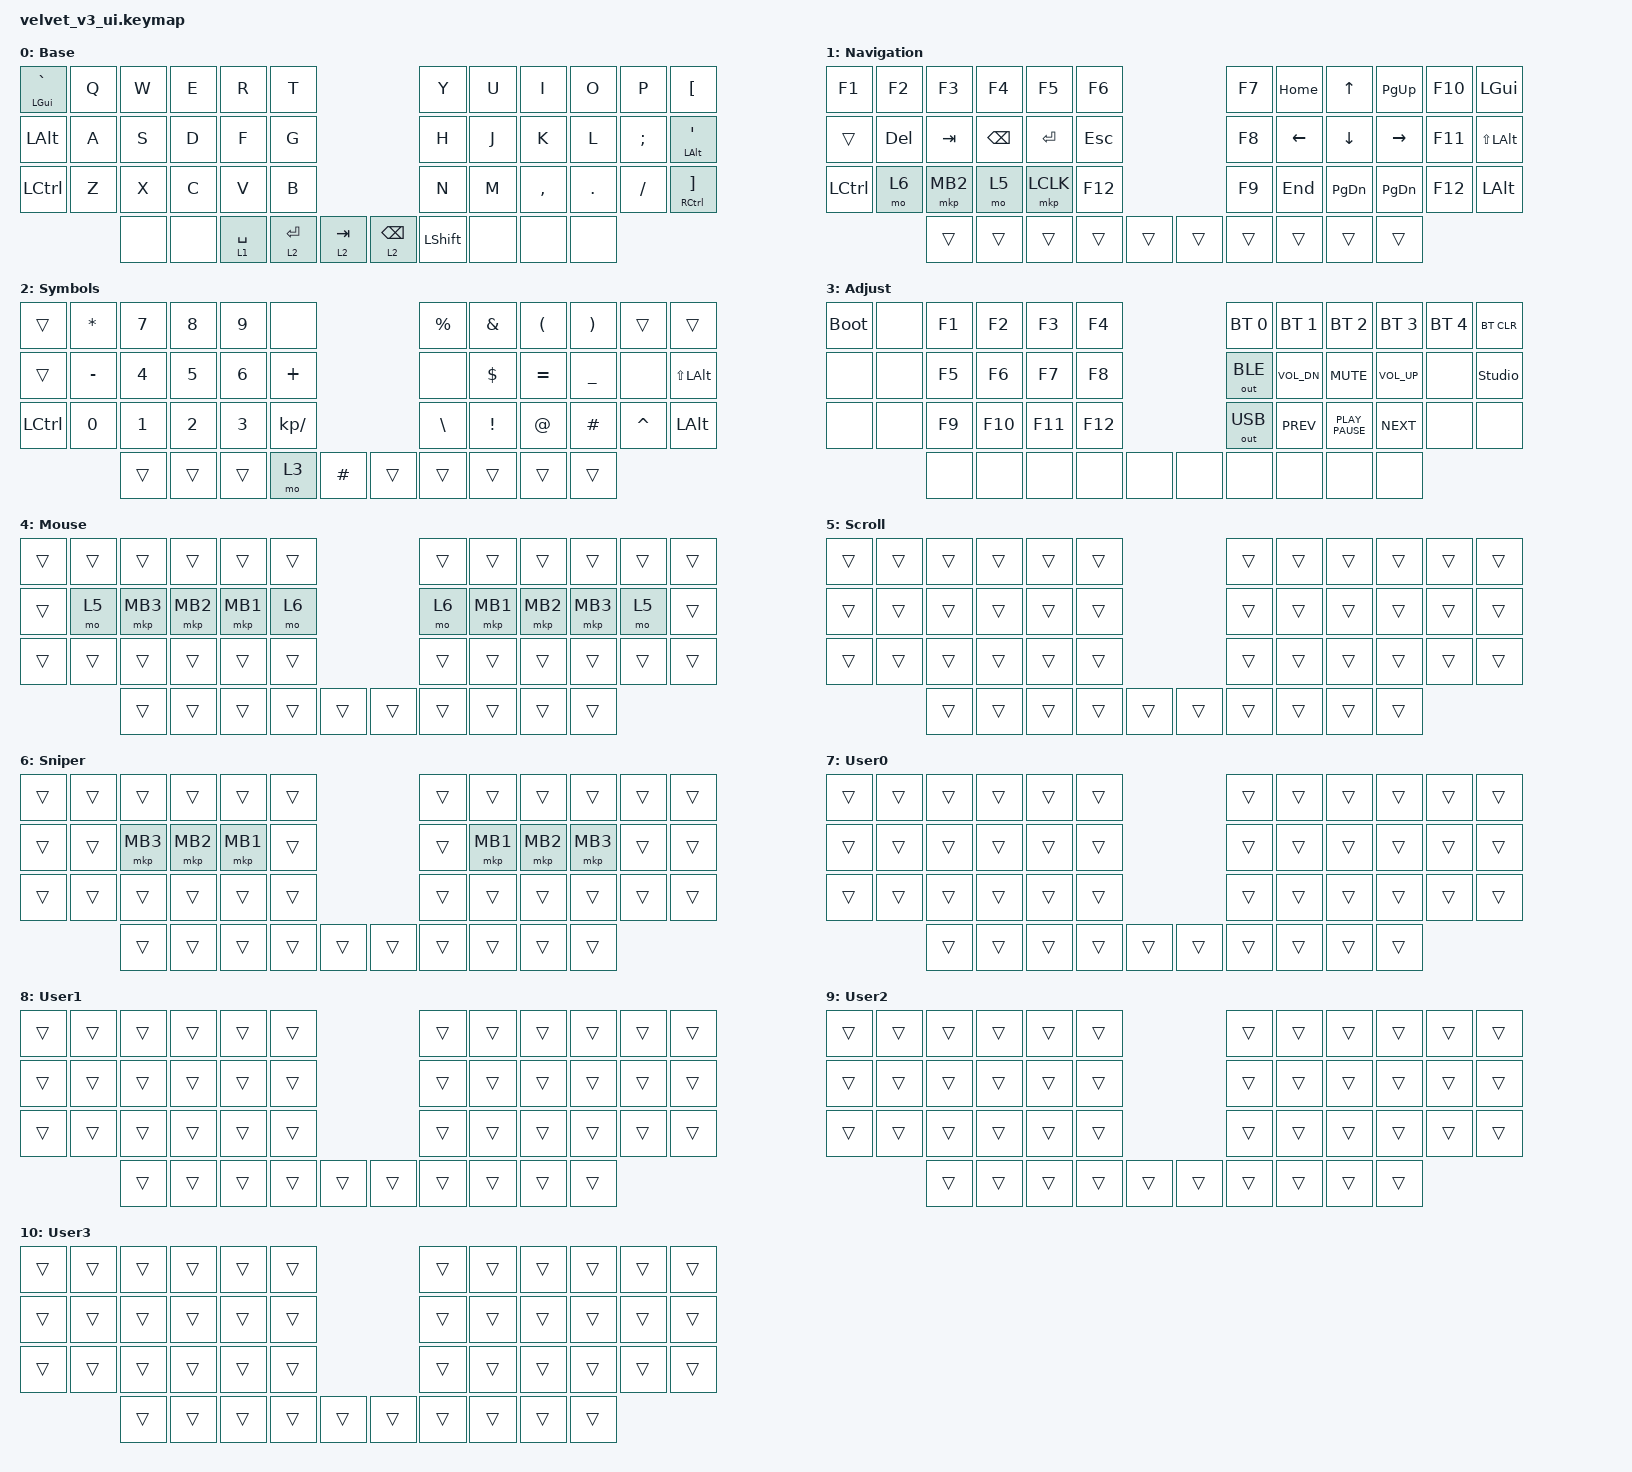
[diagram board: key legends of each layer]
#include "keys_ru.h"
#include <dt-bindings/zmk/input_transform.h>
#include <input/processors.dtsi>
#include <zephyr/dt-bindings/input/input-event-codes.h>
#include <behaviors.dtsi>
#include <dt-bindings/zmk/bt.h>
#include <dt-bindings/zmk/keys.h>
#include <dt-bindings/zmk/outputs.h>
#include <dt-bindings/zmk/pointing.h>

/ {
    behaviors {
        cap_sen: cap_sen {
            compatible = "zmk,behavior-hold-tap";
            label = "CAP_SEN";
            bindings = <&mo>, <&mkp>;

            #binding-cells = <2>;
            tapping-term-ms = <150>;
            hold-while-undecided;
        };
    };

    keymap {
        compatible = "zmk,keymap";

        Base {
            bindings = <
&mt LEFT_GUI GRAVE  &kp Q  &kp W  &kp E  &kp R        &kp T                                      &kp Y           &kp U  &kp I      &kp O    &kp P     &kp LEFT_BRACKET
&kp LEFT_ALT        &kp A  &kp S  &kp D  &kp F        &kp G                                      &kp H           &kp J  &kp K      &kp L    &kp SEMI  &mt LEFT_ALT SQT
&kp LCTRL           &kp Z  &kp X  &kp C  &kp V        &kp B                                      &kp N           &kp M  &kp COMMA  &kp DOT  &kp FSLH  &mt RCTRL RIGHT_BRACKET
                           &none  &none  &lt 1 SPACE  &lt 2 ENTER  &lt 2 TAB    &lt 2 BACKSPACE  &kp LEFT_SHIFT  &none  &none      &none
            >;

            display-name = "Base";
        };

        Navigation {
            bindings = <
&kp F1     &kp F2      &kp F3    &kp F4         &kp F5     &kp F6                     &kp F7  &kp HOME  &kp UP         &kp PAGE_UP    &kp F10  &kp LEFT_GUI
&trans     &kp DELETE  &kp TAB   &kp BACKSPACE  &kp ENTER  &kp ESC                    &kp F8  &kp LEFT  &kp DOWN       &kp RIGHT      &kp F11  &kp LS(LEFT_ALT)
&kp LCTRL  &mo 6       &mkp MB2  &mo 5          &mkp LCLK  &kp F12                    &kp F9  &kp END   &kp PAGE_DOWN  &kp PAGE_DOWN  &kp F12  &kp LEFT_ALT
                       &trans    &trans         &trans     &trans   &trans    &trans  &trans  &trans    &trans         &trans
            >;

            display-name = "Navigation";
        };

        Symbols {
            bindings = <
&trans     &kp ASTRK     &kp N7        &kp N8        &kp N9        &none                             &kp PRCNT      &kp AMPERSAND  &kp LPAR     &kp RPAR   &trans     &trans
&trans     &kp MINUS     &kp NUMBER_4  &kp NUMBER_5  &kp N6        &kp PLUS                          &none          &kp DOLLAR     &kp EQUAL    &kp UNDER  &none      &kp LS(LEFT_ALT)
&kp LCTRL  &kp NUMBER_0  &kp N1        &kp NUMBER_2  &kp NUMBER_3  &kp KP_SLASH                      &kp BACKSLASH  &kp EXCL       &kp AT_SIGN  &kp HASH   &kp CARET  &kp LEFT_ALT
                         &trans        &trans        &trans        &mo 3         &kp HASH    &trans  &trans         &trans         &trans       &trans
            >;

            display-name = "Symbols";
        };

        Adjust {
            bindings = <
&bootloader  &none  &kp F1  &kp F2   &kp F3   &kp F4                   &bt BT_SEL 0  &bt BT_SEL 1  &bt BT_SEL 2      &bt BT_SEL 3  &bt BT_SEL 4  &bt BT_CLR
&none        &none  &kp F5  &kp F6   &kp F7   &kp F8                   &out OUT_BLE  &kp C_VOL_DN  &kp K_MUTE        &kp C_VOL_UP  &none         &studio_unlock
&none        &none  &kp F9  &kp F10  &kp F11  &kp F12                  &out OUT_USB  &kp K_PREV    &kp K_PLAY_PAUSE  &kp K_NEXT    &none         &none
                    &none   &none    &none    &none    &none    &none  &none         &none         &none             &none
            >;

            display-name = "Adjust";
        };

        Mouse {
            bindings = <
&trans  &trans  &trans    &trans    &trans    &trans                    &trans  &trans    &trans    &trans    &trans  &trans
&trans  &mo 5   &mkp MB3  &mkp MB2  &mkp MB1  &mo 6                     &mo 6   &mkp MB1  &mkp MB2  &mkp MB3  &mo 5   &trans
&trans  &trans  &trans    &trans    &trans    &trans                    &trans  &trans    &trans    &trans    &trans  &trans
                &trans    &trans    &trans    &trans  &trans    &trans  &trans  &trans    &trans    &trans
            >;
        };

        Scroll {
            bindings = <
&trans  &trans  &trans  &trans  &trans  &trans                    &trans  &trans  &trans  &trans  &trans  &trans
&trans  &trans  &trans  &trans  &trans  &trans                    &trans  &trans  &trans  &trans  &trans  &trans
&trans  &trans  &trans  &trans  &trans  &trans                    &trans  &trans  &trans  &trans  &trans  &trans
                &trans  &trans  &trans  &trans  &trans    &trans  &trans  &trans  &trans  &trans
            >;
        };

        Sniper {
            bindings = <
&trans  &trans  &trans    &trans    &trans    &trans                    &trans  &trans    &trans    &trans    &trans  &trans
&trans  &trans  &mkp MB3  &mkp MB2  &mkp MB1  &trans                    &trans  &mkp MB1  &mkp MB2  &mkp MB3  &trans  &trans
&trans  &trans  &trans    &trans    &trans    &trans                    &trans  &trans    &trans    &trans    &trans  &trans
                &trans    &trans    &trans    &trans  &trans    &trans  &trans  &trans    &trans    &trans
            >;
        };

        User0 {
            bindings = <
&trans  &trans  &trans  &trans  &trans  &trans                    &trans  &trans  &trans  &trans  &trans  &trans
&trans  &trans  &trans  &trans  &trans  &trans                    &trans  &trans  &trans  &trans  &trans  &trans
&trans  &trans  &trans  &trans  &trans  &trans                    &trans  &trans  &trans  &trans  &trans  &trans
                &trans  &trans  &trans  &trans  &trans    &trans  &trans  &trans  &trans  &trans
            >;

            display-name = "User0";
        };

        User1 {
            bindings = <
&trans  &trans  &trans  &trans  &trans  &trans                    &trans  &trans  &trans  &trans  &trans  &trans
&trans  &trans  &trans  &trans  &trans  &trans                    &trans  &trans  &trans  &trans  &trans  &trans
&trans  &trans  &trans  &trans  &trans  &trans                    &trans  &trans  &trans  &trans  &trans  &trans
                &trans  &trans  &trans  &trans  &trans    &trans  &trans  &trans  &trans  &trans
            >;

            display-name = "User1";
        };

        User2 {
            bindings = <
&trans  &trans  &trans  &trans  &trans  &trans                    &trans  &trans  &trans  &trans  &trans  &trans
&trans  &trans  &trans  &trans  &trans  &trans                    &trans  &trans  &trans  &trans  &trans  &trans
&trans  &trans  &trans  &trans  &trans  &trans                    &trans  &trans  &trans  &trans  &trans  &trans
                &trans  &trans  &trans  &trans  &trans    &trans  &trans  &trans  &trans  &trans
            >;

            display-name = "User2";
        };

        User3 {
            bindings = <
&trans  &trans  &trans  &trans  &trans  &trans                    &trans  &trans  &trans  &trans  &trans  &trans
&trans  &trans  &trans  &trans  &trans  &trans                    &trans  &trans  &trans  &trans  &trans  &trans
&trans  &trans  &trans  &trans  &trans  &trans                    &trans  &trans  &trans  &trans  &trans  &trans
                &trans  &trans  &trans  &trans  &trans    &trans  &trans  &trans  &trans  &trans
            >;

            display-name = "User3";
        };
    };
};

&trackball { cpi = <1000>; };

&trackball_listener {
    input-processors = <&zip_xy_scaler 9 20>;

    scroller {
        layers = <5>;
        input-processors =
            <&zip_xy_transform INPUT_TRANSFORM_Y_INVERT>,
            <&zip_xy_scaler 1 32>,
            <&zip_xy_to_scroll_mapper>;
    };

    sniper {
        layers = <6>;
        input-processors = <&zip_xy_scaler 1 4>;
    };
};
